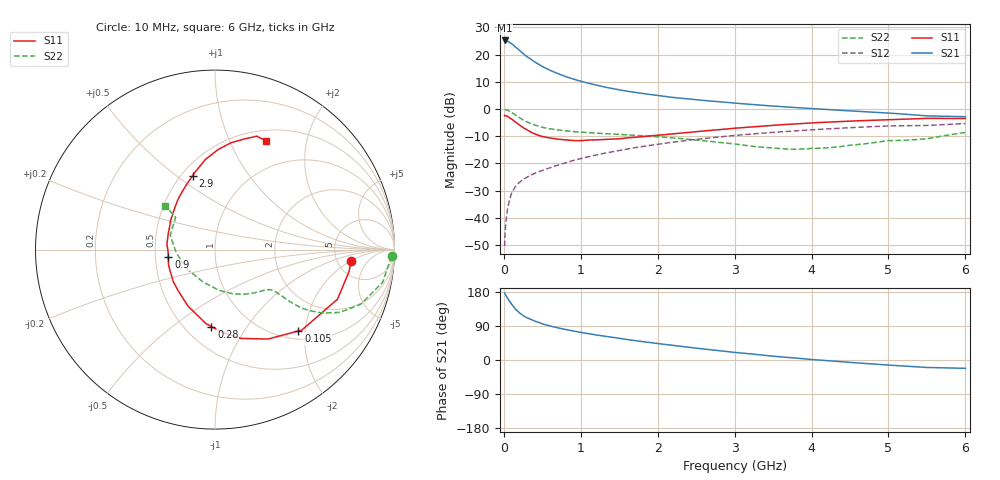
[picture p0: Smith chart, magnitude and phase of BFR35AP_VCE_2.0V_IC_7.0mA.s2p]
! Infineon Technologies  Discrete & RF Semiconductors
! BFR35AP
! VCE =  2.0 V,  IC =  7.0 mA
! Common Emitter S-Parameters:  Nov 2015
# GHz  S  MA  R  50
!  f  S11  S21  S12  S22
! GHz  MAG  ANG  MAG  ANG  MAG  ANG  MAG  ANG
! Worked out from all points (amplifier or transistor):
!   210 points, 10 MHz to 6 GHz, reference 50 ohm
!   highest |S21| = 25.2 dB at 10 MHz (marker M1)
!   |S21| within 3 dB of that: start of sweep to 176.1 MHz
!   unconditionally stable (mu >= 1): 652.8 MHz to 3.885 GHz; 5.469 GHz to 5.598 GHz
!   at 185 MHz: K = 0.47, MSG = 24.7 dB, |S12| = -27.5 dB
!   at 1.52 GHz: K = 1.14, MAG = 8.8 dB, |S12| = -15.1 dB
!   at 6 GHz: K = 0.99, MSG = 1.3 dB, |S12| = -5.3 dB
!   S11 on the Smith chart (normalised r, x): 10 MHz: 6.73, -2.04; 105 MHz: 1.18, -1.84; 280 MHz: 0.67, -0.70; 900 MHz: 0.59, -0.05; 2.9 GHz: 0.57, +0.57; 6 GHz: 0.63, +1.38
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0.01  0.7608 -4.8  18.25 176.5  0.003 87.0  0.9854 -2.2
0.02  0.757 -9.2  17.99 172.6  0.0064 82.9  0.9731 -4.5
0.05  0.7363 -22.1  17.62 162.5  0.015 79.2  0.9513 -11.1
0.1  0.6594 -42.8  16.04 147.2  0.0279 70.1  0.8682 -20.4
0.105  0.6492 -44.3  15.79 146.1  0.0288 69.3  0.8589 -21.0
0.15  0.5791 -59.4  13.87 134.4  0.0374 64.1  0.7793 -26.7
0.2  0.5146 -74.0  12.13 124.9  0.0445 60.8  0.6966 -30.5
0.24  0.4654 -83.8  10.83 118.9  0.0494 58.7  0.6418 -32.3
0.28  0.4299 -92.6  9.727 114.0  0.0537 57.9  0.5985 -33.6
0.3  0.4157 -96.9  9.213 111.5  0.0557 57.7  0.5787 -34.1
0.4  0.3499 -115.2  7.37 102.7  0.0654 57.2  0.5087 -34.8
0.5  0.3124 -129.3  6.057 95.4  0.0741 58.0  0.4605 -34.8
0.7  0.2794 -152.4  4.496 84.9  0.0927 59.3  0.4126 -34.8
0.9  0.2634 -170.6  3.559 76.5  0.1127 59.5  0.3849 -35.6
1.02  0.2632 179.6  3.19 72.2  0.1244 59.6  0.3739 -36.6
1.4  0.2793 156.4  2.39 60.0  0.1628 58.1  0.3483 -41.5
2.02  0.3311 131.3  1.755 42.9  0.2271 53.1  0.307 -53.4
2.9  0.4297 106.9  1.321 22.3  0.317 43.2  0.2353 -79.9
3.1  0.4542 103.0  1.252 18.2  0.3356 40.5  0.2179 -88.6
4.1  0.5647 87.0  0.999 -0.1  0.423 27.5  0.1893 -151.0
5.1  0.6425 74.3  0.826 -14.7  0.4896 13.6  0.2634 157.6
6  0.6695 64.9  0.723 -22.0  0.5406 3.6  0.3712 138.7
